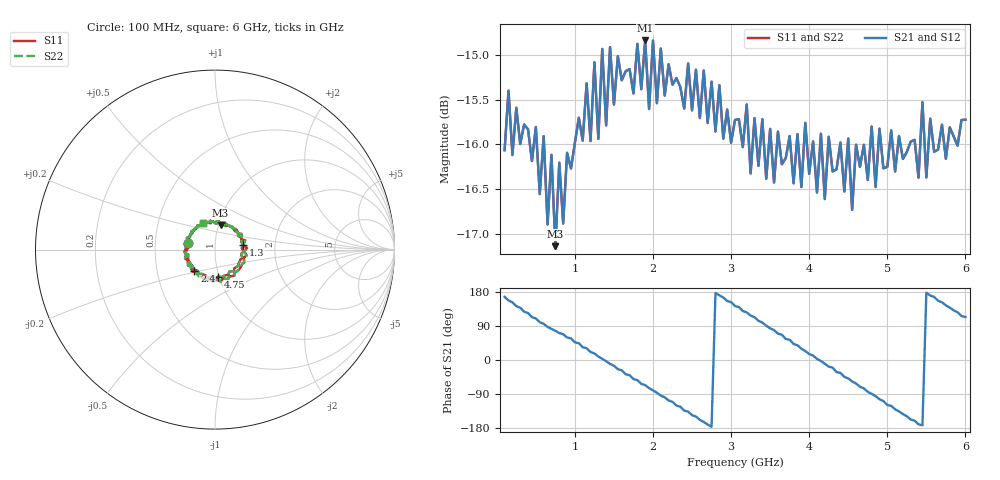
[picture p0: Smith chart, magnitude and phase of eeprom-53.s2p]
! Created with skrf 2.0.0 (http://scikit-rf.org).
# Hz S RI R 50.0
!freq ReS11 ImS11 ReS21 ImS21 ReS12 ImS12 ReS22 ImS22
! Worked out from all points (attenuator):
!   119 points, 100 MHz to 6 GHz, reference 50 ohm
!   highest |S21| = -14.84 dB at 1.9 GHz (marker M1); lowest = -17.1 dB at 750 MHz (marker M2)
!   lowest |S11| = -17.1 dB at 750 MHz (marker M3), VSWR 1.32, Z = 51.2 + j14.2 ohm
!   |S11| at or under -10 dB: start of sweep to end of sweep
!   |S22| runs from -17.1 to -14.8 dB; largest |S21 - S12| = 0
!   S11 on the Smith chart (normalised r, x): 100 MHz: 0.73, +0.05; 1.3 GHz: 1.37, +0.07; 2.4 GHz: 0.77, -0.19; 4.75 GHz: 0.99, -0.30; 6 GHz: 0.84, +0.26
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1e8  -0.1531 0.0363  -0.1531 0.0363  -0.1531 0.0363  -0.1531 0.0363
5e8  -0.0543 0.1527  -0.0543 0.1527  -0.0543 0.1527  -0.0543 0.1527
7.5e8  0.0312 0.1354  0.0312 0.1354  0.0312 0.1354  0.0312 0.1354
1.1e9  0.1324 0.0885  0.1324 0.0885  0.1324 0.0885  0.1324 0.0885
1.25e9  0.1683 0.0519  0.1683 0.0519  0.1683 0.0519  0.1683 0.0519
1.3e9  0.1576 0.0254  0.1576 0.0254  0.1576 0.0254  0.1576 0.0254
1.35e9  0.179 0.00928  0.179 0.00928  0.179 0.00928  0.179 0.00928
1.4e9  0.1621 -0.00902  0.1621 -0.00902  0.1621 -0.00902  0.1621 -0.00902
1.9e9  0.0729 -0.1659  0.0729 -0.1659  0.0729 -0.1659  0.0729 -0.1659
2.1e9  -0.0123 -0.1789  -0.0123 -0.1789  -0.0123 -0.1789  -0.0123 -0.1789
2.4e9  -0.1145 -0.1201  -0.1145 -0.1201  -0.1145 -0.1201  -0.1145 -0.1201
2.75e9  -0.1714 -0.0114  -0.1714 -0.0114  -0.1714 -0.0114  -0.1714 -0.0114
3.05e9  -0.1298 0.0995  -0.1298 0.0995  -0.1298 0.0995  -0.1298 0.0995
3.5e9  0.0181 0.1607  0.0181 0.1607  0.0181 0.1607  0.0181 0.1607
4.05e9  0.1558 0.0319  0.1558 0.0319  0.1558 0.0319  0.1558 0.0319
4.4e9  0.1316 -0.089  0.1316 -0.089  0.1316 -0.089  0.1316 -0.089
4.75e9  0.0158 -0.1505  0.0158 -0.1505  0.0158 -0.1505  0.0158 -0.1505
5.05e9  -0.0832 -0.1382  -0.0832 -0.1382  -0.0832 -0.1382  -0.0832 -0.1382
5.4e9  -0.1494 -0.0272  -0.1494 -0.0272  -0.1494 -0.0272  -0.1494 -0.0272
5.45e9  -0.1659 -0.022  -0.1659 -0.022  -0.1659 -0.022  -0.1659 -0.022
5.5e9  -0.1518 0.00592  -0.1518 0.00592  -0.1518 0.00592  -0.1518 0.00592
6e9  -0.0647 0.1503  -0.0647 0.1503  -0.0647 0.1503  -0.0647 0.1503
